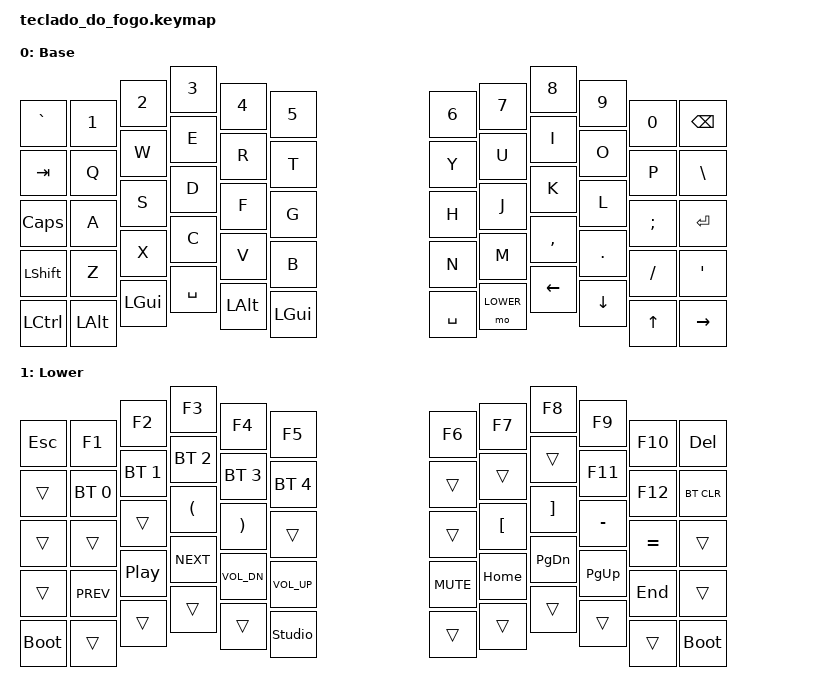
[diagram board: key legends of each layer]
/*
 * Keymap do Teclado do Fogo (60 teclas, 5x12).
 *
 * Pensado para o layout "US-International" no sistema operacional:
 * acentos e ç saem por dead keys (' + c = ç, ~ + a = ã, ^ + e = ê, ` + a = à).
 * Todas as dead keys (' " ` ~ ^) estão na camada base.
 *
 * Dá para editar sem recompilar pelo ZMK Studio (https://zmk.studio):
 * plugue o lado esquerdo no USB e desbloqueie com LOWER + tecla STUDIO.
 */

#include <behaviors.dtsi>
#include <dt-bindings/zmk/keys.h>
#include <dt-bindings/zmk/bt.h>

#define BASE  0
#define LOWER 1

/ {
    keymap {
        compatible = "zmk,keymap";

        base_layer {
            display-name = "Base";
// ---------------------------------------------------------------------------------------------
// |   `  |  1  |  2  |  3  |  4  |  5  |     |  6  |  7   |  8  |  9  |  0  | BKSP |
// |  TAB |  Q  |  W  |  E  |  R  |  T  |     |  Y  |  U   |  I  |  O  |  P  |  \   |
// | CAPS |  A  |  S  |  D  |  F  |  G  |     |  H  |  J   |  K  |  L  |  ;  | ENT  |
// | SHFT |  Z  |  X  |  C  |  V  |  B  |     |  N  |  M   |  ,  |  .  |  /  |  '   |
// | CTRL | ALT | GUI | SPC | ALT | GUI |     | SPC |LOWER |  ←  |  ↓  |  ↑  |  →   |
            bindings = <
   &kp GRAVE  &kp N1    &kp N2    &kp N3     &kp N4    &kp N5      &kp N6     &kp N7     &kp N8     &kp N9    &kp N0    &kp BSPC
   &kp TAB    &kp Q     &kp W     &kp E      &kp R     &kp T       &kp Y      &kp U      &kp I      &kp O     &kp P     &kp BSLH
   &kp CAPS   &kp A     &kp S     &kp D      &kp F     &kp G       &kp H      &kp J      &kp K      &kp L     &kp SEMI  &kp RET
   &kp LSHFT  &kp Z     &kp X     &kp C      &kp V     &kp B       &kp N      &kp M      &kp COMMA  &kp DOT   &kp FSLH  &kp APOS
   &kp LCTRL  &kp LALT  &kp LGUI  &kp SPACE  &kp LALT  &kp LGUI    &kp SPACE  &mo LOWER  &kp LEFT   &kp DOWN  &kp UP    &kp RIGHT
            >;
        };

        lower_layer {
            display-name = "Lower";
// ---------------------------------------------------------------------------------------------
// | ESC  |  F1  |  F2  |  F3  |  F4  |  F5  |     |  F6  |  F7  |  F8  |  F9  | F10  | DEL  |
// |      | BT1  | BT2  | BT3  | BT4  | BT5  |     |      |      |      | F11  | F12  |BT CLR|
// |      |      |      |  (   |  )   |      |     |      |  [   |  ]   |  -   |  =   |      |
// |      | PREV | PLAY | NEXT | VOL- | VOL+ |     | MUTE | HOME | PGDN | PGUP | END  |      |
// | BOOT |      |      |      |      |STUDIO|     |      |      |      |      | BOOT |
            bindings = <
   &kp ESC   &kp F1         &kp F2         &kp F3         &kp F4          &kp F5           &kp F6      &kp F7    &kp F8    &kp F9     &kp F10    &kp DEL
   &trans    &bt BT_SEL 0   &bt BT_SEL 1   &bt BT_SEL 2   &bt BT_SEL 3    &bt BT_SEL 4     &trans      &trans    &trans    &kp F11    &kp F12    &bt BT_CLR
   &trans    &trans         &trans         &kp LPAR       &kp RPAR        &trans           &trans      &kp LBKT  &kp RBKT  &kp MINUS  &kp EQUAL  &trans
   &trans    &kp C_PREV     &kp C_PP       &kp C_NEXT     &kp C_VOL_DN    &kp C_VOL_UP     &kp C_MUTE  &kp HOME  &kp PG_DN &kp PG_UP  &kp END    &trans
   &bootloader &trans       &trans         &trans         &trans          &studio_unlock   &trans      &trans    &trans    &trans     &trans     &bootloader
            >;
        };
    };
};
